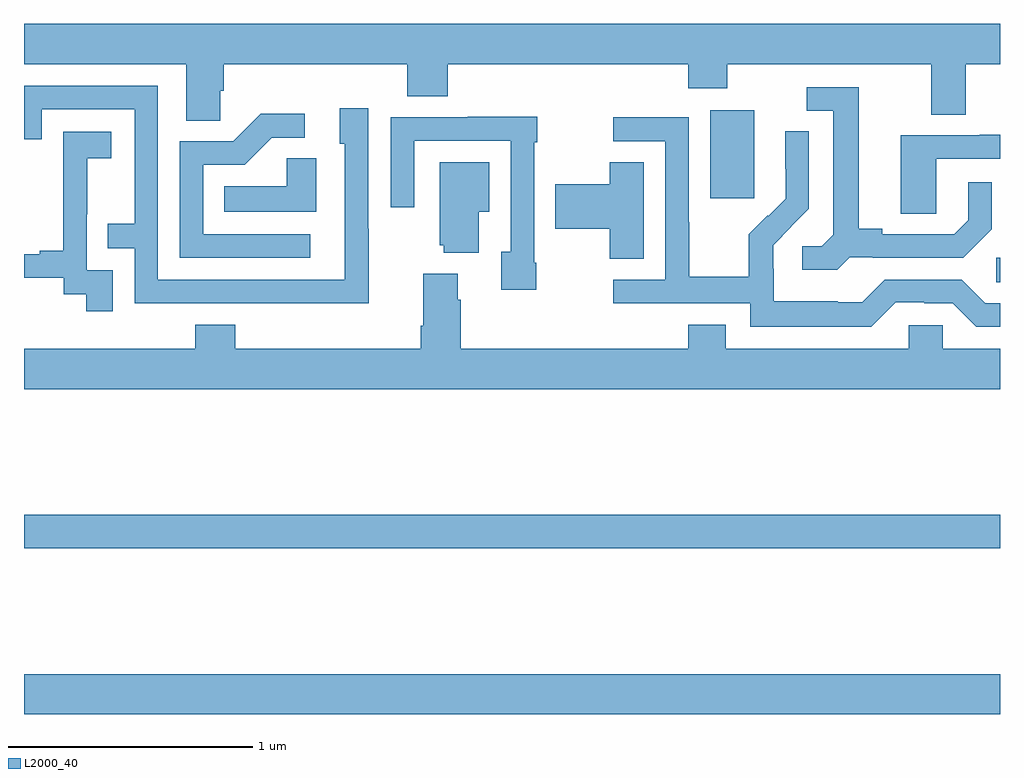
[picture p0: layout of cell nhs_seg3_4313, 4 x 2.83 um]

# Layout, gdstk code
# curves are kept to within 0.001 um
import gdstk
lib = gdstk.Library(unit=1e-6, precision=1e-09)
def R(c, l, rs):  # rectangles x0, y0, x1, y1
    for r in rs: c.add(gdstk.rectangle(r[:2], r[2:], *l))
def P(c, l, *ps):  # polygons
    for p in ps: c.add(gdstk.Polygon(p, *l))
L2000_40 = (2000, 40)

nhs_seg3_4313 = lib.new_cell('nhs_seg3_4313')
R(nhs_seg3_4313, L2000_40, [(339,731.552,343,731.716), (339,732.232,343,732.368), (342.984,733.321,343,733.422), (341.813,733.665,341.992,734.026)])
P(nhs_seg3_4313, L2000_40, [(339.804,734.107),(339.818,734.107),(339.818,734.216),(340.571,734.216),(340.571,734.083),(340.736,734.083),(340.736,734.216),(341.723,734.216),(341.723,734.117),(341.883,734.117),(341.883,734.216),(342.719,734.216),(342.719,734.008),(342.859,734.008),(342.859,734.216),(343,734.216),(343,734.38),(339,734.38),(339,734.216),(339.665,734.216),(339.665,733.984),(339.804,733.984)],
  [(340.413,733.541),(340.41,733.541),(340.41,734.035),(340.295,734.035),(340.295,733.89),(340.314,733.89),(340.314,733.332),(339.549,733.332),(339.549,734.127),(339,734.127),(339,733.908),(339.072,733.908),(339.072,734.031),(339.453,734.031),(339.453,733.562),(339.343,733.562),(339.343,733.461),(339.453,733.461),(339.453,733.236),(339.949,733.236),(339.949,733.235),(340.413,733.235)],
  [(342.384,733.425),(342.478,733.425),(342.478,733.422),(342.85,733.422),(342.966,733.538),(342.966,733.732),(342.869,733.732),(342.869,733.575),(342.812,733.518),(342.517,733.518),(342.517,733.541),(342.421,733.541),(342.421,734.121),(342.207,734.121),(342.207,734.025),(342.317,734.025),(342.317,733.517),(342.27,733.47),(342.189,733.47),(342.189,733.373),(342.332,733.373)],
  [(340.174,733.518),(339.735,733.518),(339.735,733.803),(339.904,733.803),(340.015,733.914),(340.15,733.914),(340.15,734.012),(339.971,734.012),(339.858,733.899),(339.639,733.899),(339.639,733.422),(340.174,733.422)],
  [(341.099,733.402),(341.091,733.402),(341.091,733.895),(341.104,733.895),(341.104,734),(340.819,734),(340.819,733.998),(340.503,733.998),(340.503,733.629),(340.599,733.629),(340.599,733.902),(340.995,733.902),(340.995,733.446),(340.955,733.446),(340.955,733.29),(341.099,733.29)],
  [(342.573,733.239),(342.689,733.239),(342.689,733.236),(342.807,733.236),(342.903,733.14),(343,733.14),(343,733.236),(342.939,733.236),(342.843,733.332),(342.528,733.332),(342.435,733.239),(342.335,733.239),(342.335,733.243),(342.072,733.243),(342.072,733.377),(342.07,733.377),(342.07,733.474),(342.216,733.622),(342.216,733.94),(342.12,733.94),(342.12,733.786),(342.122,733.786),(342.122,733.664),(342.051,733.593),(342.048,733.596),(341.971,733.519),(341.971,733.345),(341.727,733.345),(341.727,733.568),(341.724,733.568),(341.724,733.998),(341.415,733.998),(341.415,733.899),(341.628,733.899),(341.628,733.332),(341.415,733.332),(341.415,733.236),(341.976,733.236),(341.976,733.139),(342.473,733.139)],
  [(339.363,733.371),(339.258,733.371),(339.258,733.601),(339.26,733.601),(339.26,733.829),(339.358,733.829),(339.358,733.939),(339.16,733.939),(339.16,733.733),(339.161,733.733),(339.161,733.45),(339.065,733.45),(339.065,733.437),(339,733.437),(339,733.341),(339.162,733.341),(339.162,733.273),(339.255,733.273),(339.255,733.203),(339.363,733.203)],
  [(342.738,733.827),(343,733.827),(343,733.927),(342.917,733.927),(342.917,733.923),(342.593,733.923),(342.593,733.603),(342.738,733.603)],
  [(340.198,733.829),(340.077,733.829),(340.077,733.714),(339.82,733.714),(339.82,733.61),(340.198,733.61)],
  [(341.539,733.814),(341.401,733.814),(341.401,733.724),(341.178,733.724),(341.178,733.541),(341.401,733.541),(341.401,733.417),(341.539,733.417)],
  [(340.864,733.61),(340.906,733.61),(340.906,733.813),(340.703,733.813),(340.703,733.473),(340.721,733.473),(340.721,733.442),(340.864,733.442)],
  [(343,733.048),(342.765,733.048),(342.765,733.146),(342.627,733.146),(342.627,733.048),(341.875,733.048),(341.875,733.147),(341.723,733.147),(341.723,733.048),(340.79,733.048),(340.79,733.25),(340.777,733.25),(340.777,733.357),(340.637,733.357),(340.637,733.144),(340.625,733.144),(340.625,733.048),(339.866,733.048),(339.866,733.147),(339.701,733.147),(339.701,733.048),(339,733.048),(339,732.884),(343,732.884)])

lib.write_gds('nhs_seg3_4313.gds')
